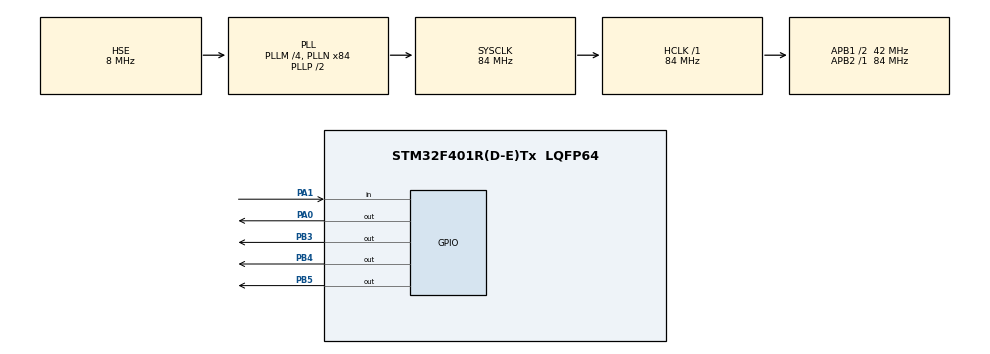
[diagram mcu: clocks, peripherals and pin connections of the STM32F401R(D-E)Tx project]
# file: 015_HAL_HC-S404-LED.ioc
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Mcu.Family=STM32F4
Mcu.Name=STM32F401R(D-E)Tx
Mcu.Package=LQFP64
NVIC.PriorityGroup=NVIC_PRIORITYGROUP_4
PA0-WKUP.Signal=GPIO_Output
PA1.Signal=GPIO_Input
PB3.Signal=GPIO_Output
PB4.Signal=GPIO_Output
PB5.Signal=GPIO_Output
PH0\ -\ OSC_IN.Mode=HSE-External-Oscillator
PH0\ -\ OSC_IN.Signal=RCC_OSC_IN
PH1\ -\ OSC_OUT.Mode=HSE-External-Oscillator
PH1\ -\ OSC_OUT.Signal=RCC_OSC_OUT
ProjectManager.HeapSize=0x200
ProjectManager.StackSize=0x400
ProjectManager.TargetToolchain=STM32CubeIDE
RCC.48MHZClocksFreq_Value=42000000
RCC.AHBFreq_Value=84000000
RCC.APB1CLKDivider=RCC_HCLK_DIV2
RCC.APB1Freq_Value=42000000
RCC.APB1TimFreq_Value=84000000
RCC.APB2Freq_Value=84000000
RCC.APB2TimFreq_Value=84000000
RCC.CortexFreq_Value=84000000
RCC.HCLKFreq_Value=84000000
RCC.HSE_VALUE=8000000
RCC.HSI_VALUE=16000000
RCC.LSE_VALUE=32768
RCC.PLLM=4
RCC.PLLN=84
RCC.PLLSourceVirtual=RCC_PLLSOURCE_HSE
RCC.SYSCLKFreq_VALUE=84000000
RCC.SYSCLKSource=RCC_SYSCLKSOURCE_PLLCLK
RCC.VCOOutputFreq_Value=168000000
board=custom

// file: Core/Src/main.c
/* USER CODE BEGIN Header */
/**
  ******************************************************************************
  * @file           : main.c
  * @brief          : Main program body
  ******************************************************************************
  * @attention
  *
  * Copyright (c) 2023 STMicroelectronics.
  * All rights reserved.
  *
  * This software is licensed under terms that can be found in the LICENSE file
  * in the root directory of this software component.
  * If no LICENSE file comes with this software, it is provided AS-IS.
  *
  ******************************************************************************
  */
/* USER CODE END Header */
#include "main.h"

/* USER CODE BEGIN Includes */
#include "dwt_stm32_delay.h"
/* USER CODE END Includes */

/* USER CODE BEGIN PV */
uint32_t time;
uint16_t distance;
/* USER CODE END PV */

void SystemClock_Config(void);
static void MX_GPIO_Init(void);
/* USER CODE BEGIN PFP */
uint32_t Read_HCSR04()
{
   uint32_t local_time = 0;

   HAL_GPIO_WritePin(GPIOA,GPIO_PIN_0,SET);
   DWT_Delay_us(10);
   HAL_GPIO_WritePin(GPIOA,GPIO_PIN_0,RESET);

   while(!HAL_GPIO_ReadPin(GPIOA, GPIO_PIN_1));

   while(HAL_GPIO_ReadPin(GPIOA, GPIO_PIN_1))
   {
	   local_time++;
	   DWT_Delay_us(1);

   }

   return local_time;

}
/* USER CODE END PFP */

int main(void)
{

  /* MCU Configuration--------------------------------------------------------*/

  /* Reset of all peripherals, Initializes the Flash interface and the Systick. */
  HAL_Init();

  /* Configure the system clock */
  SystemClock_Config();

  /* Initialize all configured peripherals */
  MX_GPIO_Init();
  /* USER CODE BEGIN 2 */
DWT_Delay_Init();
  /* USER CODE END 2 */

  /* Infinite loop */
  while (1)
  {

    /* USER CODE BEGIN 3 */
	  time = Read_HCSR04();
	  distance = time/58;
	      if(distance <= 4){
	  		  HAL_GPIO_WritePin(GPIOB, GPIO_PIN_3, GPIO_PIN_SET);
	  		  HAL_GPIO_WritePin(GPIOB, GPIO_PIN_4, GPIO_PIN_SET);
	  		  HAL_GPIO_WritePin(GPIOB, GPIO_PIN_5, GPIO_PIN_SET);
	      }
	      else if(distance>4 && distance <=8)
	      {
	    	  HAL_GPIO_WritePin(GPIOB, GPIO_PIN_3, GPIO_PIN_SET);
	    	  HAL_GPIO_WritePin(GPIOB, GPIO_PIN_4, GPIO_PIN_SET);
	    	  HAL_GPIO_WritePin(GPIOB, GPIO_PIN_5, GPIO_PIN_RESET);
	      }
	      else if(distance>8 && distance <=12)
	      {
	    	  HAL_GPIO_WritePin(GPIOB, GPIO_PIN_3, GPIO_PIN_SET);
	    	  HAL_GPIO_WritePin(GPIOB, GPIO_PIN_4, GPIO_PIN_RESET);
	    	  HAL_GPIO_WritePin(GPIOB, GPIO_PIN_5, GPIO_PIN_RESET);
	      }
	      else if(distance>12)
	      {
	    	  HAL_GPIO_WritePin(GPIOB, GPIO_PIN_3, GPIO_PIN_RESET);
	    	  HAL_GPIO_WritePin(GPIOB, GPIO_PIN_4, GPIO_PIN_RESET);
	    	  HAL_GPIO_WritePin(GPIOB, GPIO_PIN_5, GPIO_PIN_RESET);
	      }

	   HAL_Delay(100);
  /* USER CODE END 3 */
}
}

void SystemClock_Config(void)
{
  RCC_OscInitTypeDef RCC_OscInitStruct = {0};
  RCC_ClkInitTypeDef RCC_ClkInitStruct = {0};

  /** Configure the main internal regulator output voltage
  */
  __HAL_RCC_PWR_CLK_ENABLE();
  __HAL_PWR_VOLTAGESCALING_CONFIG(PWR_REGULATOR_VOLTAGE_SCALE2);

  /** Initializes the RCC Oscillators according to the specified parameters
  * in the RCC_OscInitTypeDef structure.
  */
  RCC_OscInitStruct.OscillatorType = RCC_OSCILLATORTYPE_HSE;
  RCC_OscInitStruct.HSEState = RCC_HSE_ON;
  RCC_OscInitStruct.PLL.PLLState = RCC_PLL_ON;
  RCC_OscInitStruct.PLL.PLLSource = RCC_PLLSOURCE_HSE;
  RCC_OscInitStruct.PLL.PLLM = 4;
  RCC_OscInitStruct.PLL.PLLN = 84;
  RCC_OscInitStruct.PLL.PLLP = RCC_PLLP_DIV2;
  RCC_OscInitStruct.PLL.PLLQ = 4;
  if (HAL_RCC_OscConfig(&RCC_OscInitStruct) != HAL_OK)
  {
    Error_Handler();
  }

  /** Initializes the CPU, AHB and APB buses clocks
  */
  RCC_ClkInitStruct.ClockType = RCC_CLOCKTYPE_HCLK|RCC_CLOCKTYPE_SYSCLK
                              |RCC_CLOCKTYPE_PCLK1|RCC_CLOCKTYPE_PCLK2;
  RCC_ClkInitStruct.SYSCLKSource = RCC_SYSCLKSOURCE_PLLCLK;
  RCC_ClkInitStruct.AHBCLKDivider = RCC_SYSCLK_DIV1;
  RCC_ClkInitStruct.APB1CLKDivider = RCC_HCLK_DIV2;
  RCC_ClkInitStruct.APB2CLKDivider = RCC_HCLK_DIV1;

  if (HAL_RCC_ClockConfig(&RCC_ClkInitStruct, FLASH_LATENCY_2) != HAL_OK)
  {
    Error_Handler();
  }
}

static void MX_GPIO_Init(void)
{
  GPIO_InitTypeDef GPIO_InitStruct = {0};

  /* GPIO Ports Clock Enable */
  __HAL_RCC_GPIOH_CLK_ENABLE();
  __HAL_RCC_GPIOA_CLK_ENABLE();
  __HAL_RCC_GPIOB_CLK_ENABLE();

  /*Configure GPIO pin Output Level */
  HAL_GPIO_WritePin(GPIOA, GPIO_PIN_0, GPIO_PIN_RESET);

  /*Configure GPIO pin Output Level */
  HAL_GPIO_WritePin(GPIOB, GPIO_PIN_3|GPIO_PIN_4|GPIO_PIN_5, GPIO_PIN_RESET);

  /*Configure GPIO pin : PA0 */
  GPIO_InitStruct.Pin = GPIO_PIN_0;
  GPIO_InitStruct.Mode = GPIO_MODE_OUTPUT_PP;
  GPIO_InitStruct.Pull = GPIO_NOPULL;
  GPIO_InitStruct.Speed = GPIO_SPEED_FREQ_LOW;
  HAL_GPIO_Init(GPIOA, &GPIO_InitStruct);

  /*Configure GPIO pin : PA1 */
  GPIO_InitStruct.Pin = GPIO_PIN_1;
  GPIO_InitStruct.Mode = GPIO_MODE_INPUT;
  GPIO_InitStruct.Pull = GPIO_NOPULL;
  HAL_GPIO_Init(GPIOA, &GPIO_InitStruct);

  /*Configure GPIO pins : PB3 PB4 PB5 */
  GPIO_InitStruct.Pin = GPIO_PIN_3|GPIO_PIN_4|GPIO_PIN_5;
  GPIO_InitStruct.Mode = GPIO_MODE_OUTPUT_PP;
  GPIO_InitStruct.Pull = GPIO_NOPULL;
  GPIO_InitStruct.Speed = GPIO_SPEED_FREQ_LOW;
  HAL_GPIO_Init(GPIOB, &GPIO_InitStruct);

}

void Error_Handler(void)
{
  __disable_irq();
  while (1)
  {
  }
}
